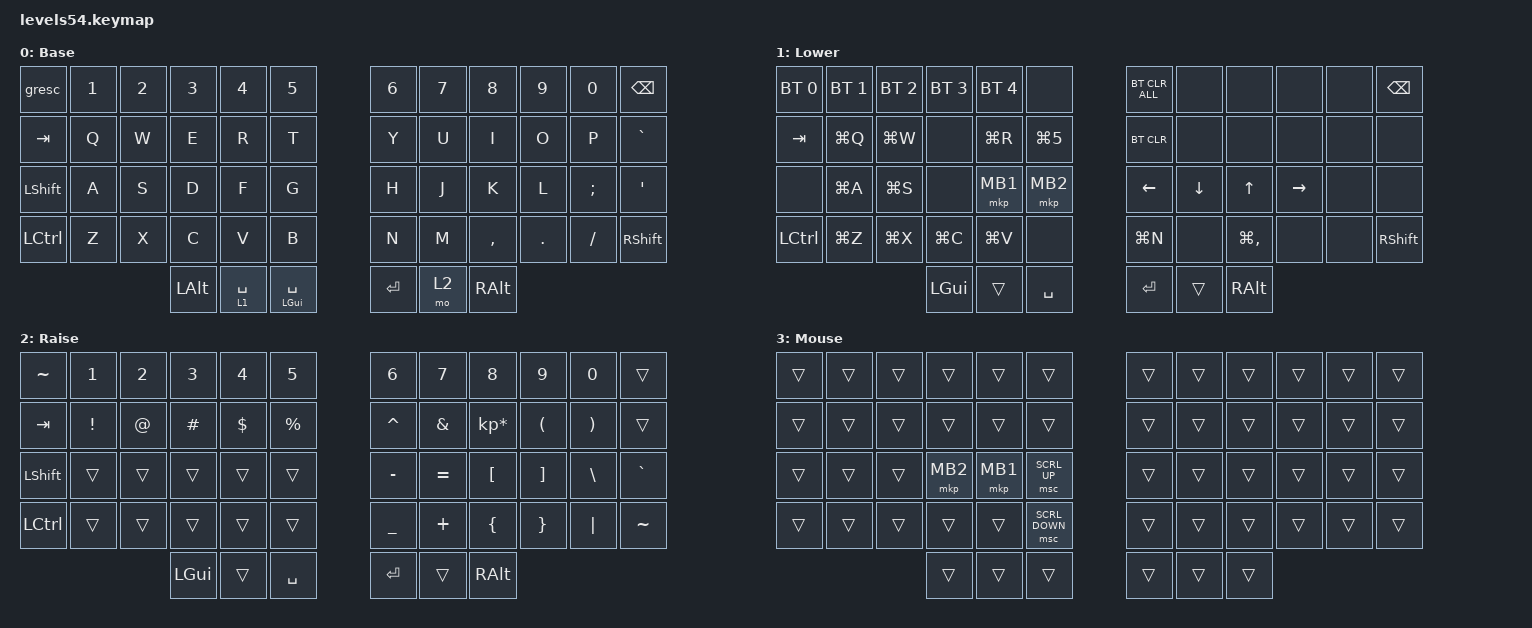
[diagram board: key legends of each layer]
#include <behaviors.dtsi>
#include <dt-bindings/zmk/bt.h>
#include <dt-bindings/zmk/keys.h>
#include <dt-bindings/zmk/pointing.h>

/ {
    spc_lower: spc_lower {
        compatible = "zmk,behavior-hold-tap";
        label = "SPC_LOWER";
        bindings = <&mo>, <&kp>;

        #binding-cells = <2>;
        flavor = "tap-preferred";
        tapping-term-ms = <250>;
        hold-trigger-on-release;
        quick-tap-ms = <100>;
    };

    behaviors {
    };

    keymap {
        compatible = "zmk,keymap";

        default_layer {
            display-name = "Base";
            bindings = <
&gresc      &kp N1  &kp N2  &kp N3    &kp N4              &kp N5            &kp N6   &kp N7  &kp N8     &kp N9   &kp N0    &kp BACKSPACE
&kp TAB     &kp Q   &kp W   &kp E     &kp R               &kp T             &kp Y    &kp U   &kp I      &kp O    &kp P     &kp GRAVE
&kp LSHIFT  &kp A   &kp S   &kp D     &kp F               &kp G             &kp H    &kp J   &kp K      &kp L    &kp SEMI  &kp SQT
&kp LCTRL   &kp Z   &kp X   &kp C     &kp V               &kp B             &kp N    &kp M   &kp COMMA  &kp DOT  &kp FSLH  &kp RIGHT_SHIFT
                            &kp LALT  &spc_lower 1 SPACE  &mt LGUI SPACE    &kp RET  &mo 2   &kp RALT
            >;
        };

        lower_layer {
            display-name = "Lower";
            bindings = <
&bt BT_SEL 0  &bt BT_SEL 1  &bt BT_SEL 2  &bt BT_SEL 3  &bt BT_SEL 4  &none         &bt BT_CLR_ALL  &none     &none          &none      &none  &kp BACKSPACE
&kp TAB       &kp LG(Q)     &kp LG(W)     &none         &kp LG(R)     &kp LG(N5)    &bt BT_CLR      &none     &none          &none      &none  &none
&none         &kp LG(A)     &kp LG(S)     &none         &mkp MB1      &mkp MB2      &kp LEFT        &kp DOWN  &kp UP         &kp RIGHT  &none  &none
&kp LCTRL     &kp LG(Z)     &kp LG(X)     &kp LG(C)     &kp LG(V)     &none         &kp LG(N)       &none     &kp LG(COMMA)  &none      &none  &kp RIGHT_SHIFT
                                          &kp LGUI      &trans        &kp SPACE     &kp RET         &trans    &kp RALT
            >;
        };

        raise_layer {
            display-name = "Raise";
            bindings = <
&kp TILDE   &kp N1    &kp N2  &kp N3    &kp N4    &kp N5       &kp N6     &kp N7     &kp N8           &kp N9    &kp N0    &trans
&kp TAB     &kp EXCL  &kp AT  &kp HASH  &kp DLLR  &kp PRCNT    &kp CARET  &kp AMPS   &kp KP_MULTIPLY  &kp LPAR  &kp RPAR  &trans
&kp LSHIFT  &trans    &trans  &trans    &trans    &trans       &kp MINUS  &kp EQUAL  &kp LBKT         &kp RBKT  &kp BSLH  &kp GRAVE
&kp LCTRL   &trans    &trans  &trans    &trans    &trans       &kp UNDER  &kp PLUS   &kp LBRC         &kp RBRC  &kp PIPE  &kp TILDE
                              &kp LGUI  &trans    &kp SPACE    &kp RET    &trans     &kp RALT
            >;
        };

        mouse_layer {
            display-name = "Mouse";
            bindings = <
&trans  &trans  &trans  &trans    &trans    &trans            &trans  &trans  &trans  &trans  &trans  &trans
&trans  &trans  &trans  &trans    &trans    &trans            &trans  &trans  &trans  &trans  &trans  &trans
&trans  &trans  &trans  &mkp MB2  &mkp MB1  &msc SCRL_UP      &trans  &trans  &trans  &trans  &trans  &trans
&trans  &trans  &trans  &trans    &trans    &msc SCRL_DOWN    &trans  &trans  &trans  &trans  &trans  &trans
                        &trans    &trans    &trans            &trans  &trans  &trans
            >;
        };
    };
};
